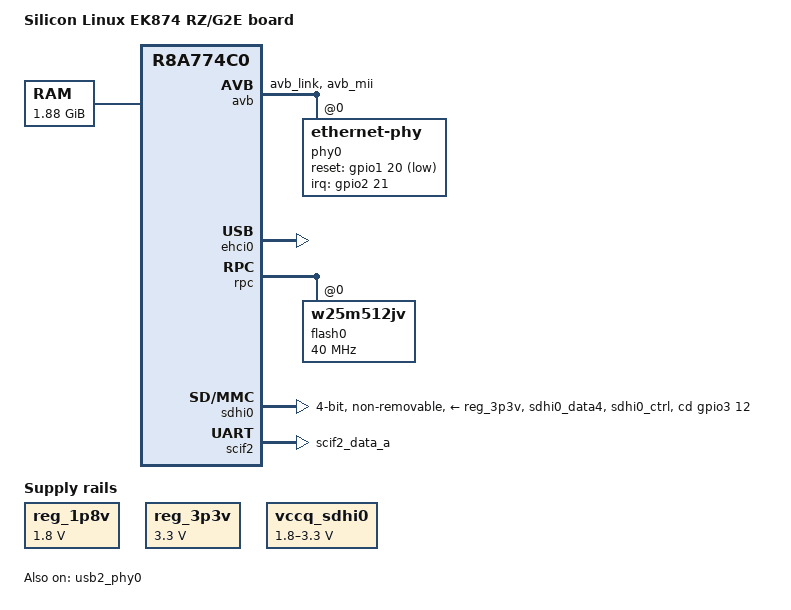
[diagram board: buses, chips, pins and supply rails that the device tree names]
// SPDX-License-Identifier: GPL-2.0
/*
 * Device Tree Source for the Silicon Linux RZ/G2E 96board platform (EK874) Rev.C
 *
 * Copyright (C) 2020 Renesas Electronics Corporation
 */

/dts-v1/;
#include "r8a774c0.dtsi"
#include <dt-bindings/gpio/gpio.h>

/ {
	model = "Silicon Linux EK874 RZ/G2E board";
	compatible = "renesas,ek874", "renesas,r8a774c0";

	aliases {
		serial0 = &scif2;
		ethernet0 = &avb;
		spi0 = &rpc;
	};

	chosen {
		bootargs = "ignore_loglevel";
		stdout-path = "serial0:115200n8";
	};

	memory@48000000 {
		device_type = "memory";
		/* first 128MB is reserved for secure area. */
		reg = <0x0 0x48000000 0x0 0x78000000>;
	};

	reg_1p8v: regulator0 {
		compatible = "regulator-fixed";
		regulator-name = "fixed-1.8V";
		regulator-min-microvolt = <1800000>;
		regulator-max-microvolt = <1800000>;
		regulator-boot-on;
		regulator-always-on;
	};

	reg_3p3v: regulator1 {
		compatible = "regulator-fixed";
		regulator-name = "fixed-3.3V";
		regulator-min-microvolt = <3300000>;
		regulator-max-microvolt = <3300000>;
		regulator-boot-on;
		regulator-always-on;
	};

	vccq_sdhi0: regulator-vccq-sdhi0 {
		compatible = "regulator-gpio";

		regulator-name = "SDHI0 VccQ";
		regulator-min-microvolt = <1800000>;
		regulator-max-microvolt = <3300000>;

		gpios = <&gpio3 13 GPIO_ACTIVE_HIGH>;
		gpios-states = <1>;
		states = <3300000 1
			  1800000 0>;
	};
};

&avb {
	pinctrl-0 = <&avb_pins>;
	pinctrl-names = "default";
	renesas,no-ether-link;
	phy-handle = <&phy0>;
	phy-mode = "rgmii-txid";
	status = "okay";

	phy0: ethernet-phy@0 {
		rxc-skew-ps = <1500>;
		reg = <0>;
		interrupt-parent = <&gpio2>;
		interrupts = <21 IRQ_TYPE_LEVEL_LOW>;
		reset-gpios = <&gpio1 20 GPIO_ACTIVE_LOW>;
	};
};

&ehci0 {
	status = "okay";
};

&extal_clk {
	clock-frequency = <48000000>;
};

&pfc {
	pinctrl-0 = <&scif_clk_pins>;
	pinctrl-names = "default";

	avb_pins: avb {
		mux {
			groups = "avb_link", "avb_mii";
			function = "avb";
		};
	};

	scif2_pins: scif2 {
		groups = "scif2_data_a";
		function = "scif2";
	};

	scif_clk_pins: scif_clk {
		groups = "scif_clk_a";
		function = "scif_clk";
	};

	sdhi0_pins: sd0 {
		groups = "sdhi0_data4", "sdhi0_ctrl";
		function = "sdhi0";
		power-source = <3300>;
	};

	sdhi0_pins_uhs: sd0_uhs {
		groups = "sdhi0_data4", "sdhi0_ctrl";
		function = "sdhi0";
		power-source = <1800>;
	};
};

&usb2_phy0 {
	status = "okay";
};

&rpc {
	num-cs = <1>;
	status = "okay";
	spi-max-frequency = <40000000>;
	#address-cells = <1>;
	#size-cells = <0>;

	flash0: spi-flash@0 {
		#address-cells = <1>;
		#size-cells = <1>;
		compatible = "w25m512jv", "spi-flash", "jedec,spi-nor";
		spi-max-frequency = <40000000>;
		spi-tx-bus-width = <1>;
		spi-rx-bus-width = <1>;
		reg = <0>;
		status = "okay";
	};
};

&sdhi0 {
	/* micro SD */
	pinctrl-0 = <&sdhi0_pins>;
	pinctrl-1 = <&sdhi0_pins_uhs>;
	pinctrl-names = "default", "state_uhs";

	vmmc-supply = <&reg_3p3v>;
	vqmmc-supply = <&vccq_sdhi0>;
	cd-gpios = <&gpio3 12 GPIO_ACTIVE_HIGH>;
	bus-width = <4>;
	sd-uhs-sdr50;
	sd-uhs-sdr104;
	non-removable;
	status = "okay";
	max-frequency = <208000000>;
};

&scif2 {
	pinctrl-0 = <&scif2_pins>;
	pinctrl-names = "default";

	status = "okay";
};
